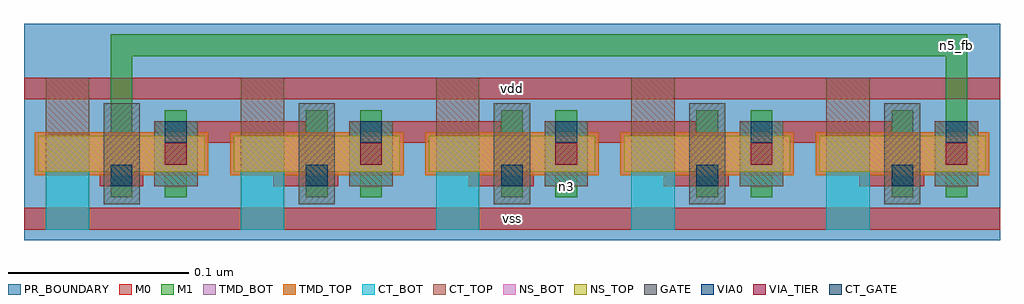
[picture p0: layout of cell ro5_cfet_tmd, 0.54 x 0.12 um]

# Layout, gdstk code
import gdstk
lib = gdstk.Library(unit=1e-6, precision=1e-09)
def R(c, l, rs):  # rectangles x0, y0, x1, y1
    for r in rs: c.add(gdstk.rectangle(r[:2], r[2:], *l))
def A(c, l, x, y, w, h, nx, ny, dx, dy):  # array of equal rectangles
    R(c, l, [(x+i*dx, y+j*dy, x+i*dx+w, y+j*dy+h) for i in range(nx) for j in range(ny)])
PR_BOUNDARY = (1, 0)
NS_BOT = (10, 0)
NS_TOP = (11, 0)
GATE = (20, 0)
CT_GATE = (21, 0)
CT_BOT = (30, 0)
CT_TOP = (31, 0)
VIA_TIER = (35, 0)
M0 = (40, 0)
VIA0 = (41, 0)
M1 = (42, 0)
TMD_BOT = (51, 0)
TMD_TOP = (52, 0)

inv_cfet_tmd = lib.new_cell('inv_cfet_tmd')
R(inv_cfet_tmd, PR_BOUNDARY, [(0,0,0.108,0.096)])
R(inv_cfet_tmd, NS_BOT, [(0.008,0.038,0.1,0.058)])
R(inv_cfet_tmd, NS_TOP, [(0.008,0.038,0.1,0.058)])
R(inv_cfet_tmd, GATE, [(0.044,0.02,0.064,0.076)])
R(inv_cfet_tmd, CT_GATE, [(0.048,0.03,0.06,0.042)])
R(inv_cfet_tmd, CT_BOT, [(0.012,0.006,0.036,0.058), (0.072,0.03,0.096,0.066)])
R(inv_cfet_tmd, CT_TOP, [(0.072,0.03,0.096,0.066), (0.012,0.038,0.036,0.09)])
R(inv_cfet_tmd, VIA_TIER, [(0.078,0.042,0.09,0.054)])
R(inv_cfet_tmd, M0, [(0,0.006,0.108,0.018), (0.042,0.03,0.066,0.042), (0.072,0.054,0.096,0.066), (0,0.078,0.108,0.09)])
R(inv_cfet_tmd, VIA0, [(0.048,0.03,0.06,0.042), (0.078,0.054,0.09,0.066)])
R(inv_cfet_tmd, M1, [(0.048,0.024,0.06,0.072), (0.078,0.024,0.09,0.072)])
R(inv_cfet_tmd, TMD_BOT, [(0.006,0.036,0.102,0.06)])
R(inv_cfet_tmd, TMD_TOP, [(0.006,0.036,0.102,0.06)])
inv_cfet_tmd.add(gdstk.Label('in', (0.054,0.048), layer=42, texttype=1))
inv_cfet_tmd.add(gdstk.Label('out', (0.084,0.048), layer=42, texttype=1))
inv_cfet_tmd.add(gdstk.Label('vdd', (0.054,0.084), layer=40, texttype=1))
inv_cfet_tmd.add(gdstk.Label('vss', (0.054,0.012), layer=40, texttype=1))

ro5_cfet_tmd = lib.new_cell('ro5_cfet_tmd')
R(ro5_cfet_tmd, PR_BOUNDARY, [(0,0,0.54,0.12)])
A(ro5_cfet_tmd, M0, 0.138, 0.03, 0.018, 0.036, 4, 1, 0.108, 0)
A(ro5_cfet_tmd, M0, 0.096, 0.054, 0.06, 0.012, 4, 1, 0.108, 0)
R(ro5_cfet_tmd, M1, [(0.048,0.072,0.06,0.114), (0.51,0.072,0.522,0.114), (0.048,0.102,0.522,0.114)])
ro5_cfet_tmd.add(gdstk.Reference(inv_cfet_tmd, (0,0)))
ro5_cfet_tmd.add(gdstk.Reference(inv_cfet_tmd, (0.108,0)))
ro5_cfet_tmd.add(gdstk.Reference(inv_cfet_tmd, (0.216,0)))
ro5_cfet_tmd.add(gdstk.Reference(inv_cfet_tmd, (0.324,0)))
ro5_cfet_tmd.add(gdstk.Reference(inv_cfet_tmd, (0.432,0)))
ro5_cfet_tmd.add(gdstk.Label('n3', (0.3,0.03), layer=42, texttype=1))
ro5_cfet_tmd.add(gdstk.Label('n5_fb', (0.516,0.108), layer=42, texttype=1))
ro5_cfet_tmd.add(gdstk.Label('vdd', (0.27,0.084), layer=40, texttype=1))
ro5_cfet_tmd.add(gdstk.Label('vss', (0.27,0.012), layer=40, texttype=1))

lib.write_gds('ro5_cfet_tmd.gds')
